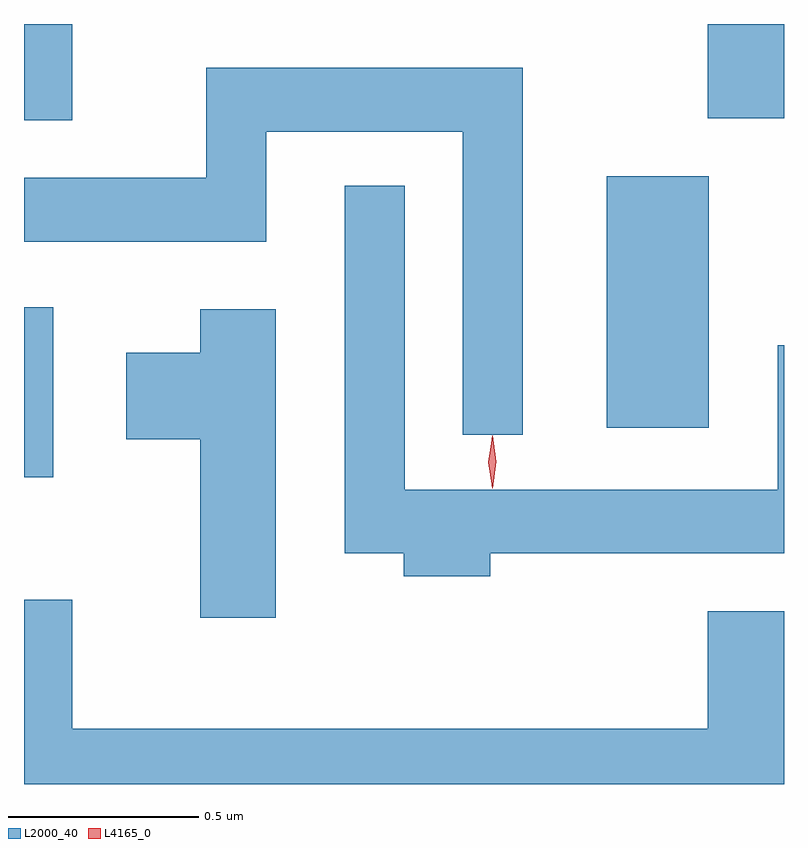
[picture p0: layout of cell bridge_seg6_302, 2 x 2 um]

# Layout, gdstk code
import gdstk
lib = gdstk.Library(unit=1e-6, precision=1e-09)
def R(c, l, rs):  # rectangles x0, y0, x1, y1
    for r in rs: c.add(gdstk.rectangle(r[:2], r[2:], *l))
def P(c, l, *ps):  # polygons
    for p in ps: c.add(gdstk.Polygon(p, *l))
L2000_40 = (2000, 40)
L4165_0 = (4165, 0)

bridge_seg6_302 = lib.new_cell('bridge_seg6_302')
R(bridge_seg6_302, L2000_40, [(1300.042,1548.746,1300.119,1549.194), (1301.576,1548.876,1301.844,1549.539), (1300.042,1549.686,1300.169,1549.939), (1301.841,1549.691,1302.042,1549.939)])
P(bridge_seg6_302, L2000_40, [(1301.354,1549.824),(1300.521,1549.824),(1300.521,1549.534),(1300.042,1549.534),(1300.042,1549.366),(1300.679,1549.366),(1300.679,1549.656),(1301.196,1549.656),(1301.196,1548.858),(1301.354,1548.858)],
  [(1301.269,1548.546),(1302.042,1548.546),(1302.042,1549.093),(1302.026,1549.093),(1302.026,1548.714),(1301.044,1548.714),(1301.044,1549.513),(1300.886,1549.513),(1300.886,1548.546),(1301.041,1548.546),(1301.041,1548.486),(1301.269,1548.486)],
  [(1300.704,1549.189),(1300.506,1549.189),(1300.506,1549.074),(1300.311,1549.074),(1300.311,1548.846),(1300.506,1548.846),(1300.506,1548.376),(1300.704,1548.376)],
  [(1302.042,1548.394),(1301.841,1548.394),(1301.841,1548.084),(1300.169,1548.084),(1300.169,1548.424),(1300.042,1548.424),(1300.042,1547.939),(1302.042,1547.939)])
P(bridge_seg6_302, L4165_0, [(1301.274,1548.717),(1301.265,1548.787),(1301.274,1548.856),(1301.275,1548.856),(1301.275,1548.856),(1301.285,1548.787),(1301.275,1548.717),(1301.275,1548.717)],
  [(1301.274,1548.719),(1301.274,1548.72),(1301.264,1548.786),(1301.274,1548.852),(1301.274,1548.853),(1301.275,1548.852),(1301.284,1548.786),(1301.275,1548.72)])

lib.write_gds('bridge_seg6_302.gds')
